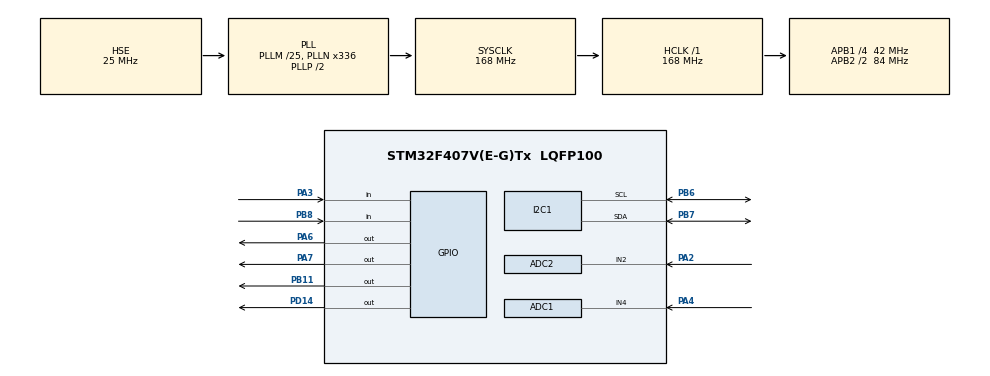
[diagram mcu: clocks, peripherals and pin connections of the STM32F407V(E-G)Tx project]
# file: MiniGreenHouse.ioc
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ADC1.Channel-4\#ChannelRegularConversion=ADC_CHANNEL_4
ADC1.ClockPrescaler=ADC_CLOCK_SYNC_PCLK_DIV4
ADC1.ContinuousConvMode=DISABLE
ADC1.DMAContinuousRequests=DISABLE
ADC1.DataAlign=ADC_DATAALIGN_RIGHT
ADC1.DiscontinuousConvMode=DISABLE
ADC1.EOCSelection=ADC_EOC_SINGLE_CONV
ADC1.EnableAnalogWatchDog=false
ADC1.ExternalTrigConv=ADC_SOFTWARE_START
ADC1.ExternalTrigConvEdge=ADC_EXTERNALTRIGCONVEDGE_NONE
ADC1.InjNumberOfConversion=0
ADC1.NbrOfConversion=1
ADC1.NbrOfConversionFlag=1
ADC1.Rank-4\#ChannelRegularConversion=1
ADC1.Resolution=ADC_RESOLUTION_12B
ADC1.SamplingTime-4\#ChannelRegularConversion=ADC_SAMPLETIME_3CYCLES
ADC1.ScanConvMode=DISABLE
ADC1.master=1
ADC2.Channel-0\#ChannelRegularConversion=ADC_CHANNEL_2
ADC2.ClockPrescaler=ADC_CLOCK_SYNC_PCLK_DIV4
ADC2.ContinuousConvMode=DISABLE
ADC2.DMAContinuousRequests=DISABLE
ADC2.DataAlign=ADC_DATAALIGN_RIGHT
ADC2.DiscontinuousConvMode=DISABLE
ADC2.EOCSelection=ADC_EOC_SINGLE_CONV
ADC2.EnableAnalogWatchDog=false
ADC2.ExternalTrigConv=ADC_SOFTWARE_START
ADC2.ExternalTrigConvEdge=ADC_EXTERNALTRIGCONVEDGE_NONE
ADC2.InjNumberOfConversion=0
ADC2.NbrOfConversion=1
ADC2.NbrOfConversionFlag=1
ADC2.Rank-0\#ChannelRegularConversion=1
ADC2.Resolution=ADC_RESOLUTION_12B
ADC2.SamplingTime-0\#ChannelRegularConversion=ADC_SAMPLETIME_3CYCLES
ADC2.ScanConvMode=DISABLE
I2C1.I2C_Mode=I2C_Fast
Mcu.Family=STM32F4
Mcu.Name=STM32F407V(E-G)Tx
Mcu.Package=LQFP100
NVIC.PriorityGroup=NVIC_PRIORITYGROUP_4
NVIC.TIM3_IRQn=true\:0\:0\:false\:false\:true\:true
NVIC.TIM4_IRQn=true\:0\:0\:false\:false\:true\:true
PA2.Signal=ADCx_IN2
PA3.GPIO_PuPd=GPIO_NOPULL
PA3.Signal=GPIO_Input
PA4.Signal=ADCx_IN4
PA6.Signal=GPIO_Output
PA7.Signal=GPIO_Output
PB11.Signal=GPIO_Output
PB6.Mode=I2C
PB6.Signal=I2C1_SCL
PB7.Mode=I2C
PB7.Signal=I2C1_SDA
PB8.GPIO_PuPd=GPIO_PULLUP
PB8.Signal=GPIO_Input
PD14.Signal=GPIO_Output
PH0-OSC_IN.Mode=HSE-External-Oscillator
PH0-OSC_IN.Signal=RCC_OSC_IN
PH1-OSC_OUT.Mode=HSE-External-Oscillator
PH1-OSC_OUT.Signal=RCC_OSC_OUT
ProjectManager.HeapSize=0x200
ProjectManager.StackSize=0x400
ProjectManager.TargetToolchain=SW4STM32
RCC.48MHZClocksFreq_Value=84000000
RCC.AHBFreq_Value=168000000
RCC.APB1CLKDivider=RCC_HCLK_DIV4
RCC.APB1Freq_Value=42000000
RCC.APB1TimFreq_Value=84000000
RCC.APB2CLKDivider=RCC_HCLK_DIV2
RCC.APB2Freq_Value=84000000
RCC.APB2TimFreq_Value=168000000
RCC.CortexFreq_Value=168000000
RCC.HCLKFreq_Value=168000000
RCC.HSE_VALUE=25000000
RCC.HSI_VALUE=16000000
RCC.LSE_VALUE=32768
RCC.PLLM=25
RCC.PLLN=336
RCC.PLLSourceVirtual=RCC_PLLSOURCE_HSE
RCC.SYSCLKFreq_VALUE=168000000
RCC.SYSCLKSource=RCC_SYSCLKSOURCE_PLLCLK
RCC.VCOOutputFreq_Value=336000000
SH.ADCx_IN2.0=ADC2_IN2,IN2
SH.ADCx_IN4.0=ADC1_IN4,IN4
TIM3.Period=9999
TIM3.Prescaler=8399
TIM4.Period=9999
TIM4.Prescaler=999
VP_TIM3_VS_ClockSourceINT.Mode=Internal
VP_TIM4_VS_ClockSourceINT.Mode=Internal
board=MiniGreenHouse

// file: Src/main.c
/**
  ******************************************************************************
  * @file           : main.c
  * @brief          : Main program body
  ******************************************************************************
  ** This notice applies to any and all portions of this file
  * that are not between comment pairs USER CODE BEGIN and
  * USER CODE END. Other portions of this file, whether
  * inserted by the user or by software development tools
  * are owned by their respective copyright owners.
  *
  * COPYRIGHT(c) 2018 STMicroelectronics
  *
  * Redistribution and use in source and binary forms, with or without modification,
  * are permitted provided that the following conditions are met:
  *   1. Redistributions of source code must retain the above copyright notice,
  *      this list of conditions and the following disclaimer.
  *   2. Redistributions in binary form must reproduce the above copyright notice,
  *      this list of conditions and the following disclaimer in the documentation
  *      and/or other materials provided with the distribution.
  *   3. Neither the name of STMicroelectronics nor the names of its contributors
  *      may be used to endorse or promote products derived from this software
  *      without specific prior written permission.
  *
  * THIS SOFTWARE IS PROVIDED BY THE COPYRIGHT HOLDERS AND CONTRIBUTORS "AS IS"
  * AND ANY EXPRESS OR IMPLIED WARRANTIES, INCLUDING, BUT NOT LIMITED TO, THE
  * IMPLIED WARRANTIES OF MERCHANTABILITY AND FITNESS FOR A PARTICULAR PURPOSE ARE
  * DISCLAIMED. IN NO EVENT SHALL THE COPYRIGHT HOLDER OR CONTRIBUTORS BE LIABLE
  * FOR ANY DIRECT, INDIRECT, INCIDENTAL, SPECIAL, EXEMPLARY, OR CONSEQUENTIAL
  * DAMAGES (INCLUDING, BUT NOT LIMITED TO, PROCUREMENT OF SUBSTITUTE GOODS OR
  * SERVICES; LOSS OF USE, DATA, OR PROFITS; OR BUSINESS INTERRUPTION) HOWEVER
  * CAUSED AND ON ANY THEORY OF LIABILITY, WHETHER IN CONTRACT, STRICT LIABILITY,
  * OR TORT (INCLUDING NEGLIGENCE OR OTHERWISE) ARISING IN ANY WAY OUT OF THE USE
  * OF THIS SOFTWARE, EVEN IF ADVISED OF THE POSSIBILITY OF SUCH DAMAGE.
  *
  ******************************************************************************
  */
#include "main.h"
#include "stm32f4xx_hal.h"

/* USER CODE BEGIN Includes */
#include "ssd1306.h"
#include "fonts.h"
#include <stdbool.h>
#include <float.h>
#include "ds18b20.h"
/* USER CODE END Includes */

ADC_HandleTypeDef hadc1;
ADC_HandleTypeDef hadc2;
I2C_HandleTypeDef hi2c1;
TIM_HandleTypeDef htim3;
TIM_HandleTypeDef htim4;

/* USER CODE BEGIN PV */
/* Private variables ---------------------------------------------------------*/

/* USER CODE END PV */

void SystemClock_Config(void);
static void MX_GPIO_Init(void);
static void MX_I2C1_Init(void);
static void MX_ADC1_Init(void);
static void MX_ADC2_Init(void);
static void MX_TIM3_Init(void);
static void MX_TIM4_Init(void);

/* USER CODE BEGIN PFP */
/* Private function prototypes -----------------------------------------------*/
void initScreen(void);
void updateScreen(void);
void HAL_TIM_PeriodElapsedCallback(TIM_HandleTypeDef *htim);
void measurements(void);
/* USER CODE END PFP */

/* USER CODE BEGIN 0 */
float tempValue;
char uartBuffer[60];
uint8_t status = 0;
uint8_t buffer[8] = {0};
uint16_t readDataRaw = 0;
int lightVal = 0, humSt=0, humVal=0, waterSt=0, in = 0, screenCnt = 1;
int ledBlock = 0, pumpBlock = 0;
char c = ' ';
/* USER CODE END 0 */

int main(void)
{

  /* MCU Configuration----------------------------------------------------------*/

  /* Reset of all peripherals, Initializes the Flash interface and the Systick. */
  HAL_Init();

  /* Configure the system clock */
  SystemClock_Config();

  /* Initialize all configured peripherals */
  MX_GPIO_Init();
  MX_I2C1_Init();
  MX_ADC1_Init();
  MX_ADC2_Init();
  MX_TIM3_Init();
  MX_TIM4_Init();
  /* USER CODE BEGIN 2 */
  status = ds18b20Init(SKIP_ROM);
  initScreen();
  HAL_ADC_Start(&hadc1);
  HAL_ADC_Start(&hadc2);
  measurements();
  HAL_TIM_Base_Start_IT(&htim3);
  HAL_TIM_Base_Start_IT(&htim4);
  /* USER CODE END 2 */

  /* Infinite loop */
  while (1){

  }

}

void SystemClock_Config(void)
{

  RCC_OscInitTypeDef RCC_OscInitStruct;
  RCC_ClkInitTypeDef RCC_ClkInitStruct;

    /**Configure the main internal regulator output voltage
    */
  __HAL_RCC_PWR_CLK_ENABLE();

  __HAL_PWR_VOLTAGESCALING_CONFIG(PWR_REGULATOR_VOLTAGE_SCALE1);

    /**Initializes the CPU, AHB and APB busses clocks
    */
  RCC_OscInitStruct.OscillatorType = RCC_OSCILLATORTYPE_HSE;
  RCC_OscInitStruct.HSEState = RCC_HSE_ON;
  RCC_OscInitStruct.PLL.PLLState = RCC_PLL_ON;
  RCC_OscInitStruct.PLL.PLLSource = RCC_PLLSOURCE_HSE;
  RCC_OscInitStruct.PLL.PLLM = 25;
  RCC_OscInitStruct.PLL.PLLN = 336;
  RCC_OscInitStruct.PLL.PLLP = RCC_PLLP_DIV2;
  RCC_OscInitStruct.PLL.PLLQ = 4;
  if (HAL_RCC_OscConfig(&RCC_OscInitStruct) != HAL_OK)
  {
    _Error_Handler(__FILE__, __LINE__);
  }

    /**Initializes the CPU, AHB and APB busses clocks
    */
  RCC_ClkInitStruct.ClockType = RCC_CLOCKTYPE_HCLK|RCC_CLOCKTYPE_SYSCLK
                              |RCC_CLOCKTYPE_PCLK1|RCC_CLOCKTYPE_PCLK2;
  RCC_ClkInitStruct.SYSCLKSource = RCC_SYSCLKSOURCE_PLLCLK;
  RCC_ClkInitStruct.AHBCLKDivider = RCC_SYSCLK_DIV1;
  RCC_ClkInitStruct.APB1CLKDivider = RCC_HCLK_DIV4;
  RCC_ClkInitStruct.APB2CLKDivider = RCC_HCLK_DIV2;

  if (HAL_RCC_ClockConfig(&RCC_ClkInitStruct, FLASH_LATENCY_5) != HAL_OK)
  {
    _Error_Handler(__FILE__, __LINE__);
  }

    /**Configure the Systick interrupt time
    */
  HAL_SYSTICK_Config(HAL_RCC_GetHCLKFreq()/1000);

    /**Configure the Systick
    */
  HAL_SYSTICK_CLKSourceConfig(SYSTICK_CLKSOURCE_HCLK);

  /* SysTick_IRQn interrupt configuration */
  HAL_NVIC_SetPriority(SysTick_IRQn, 0, 0);
}

/* ADC1 init function */
static void MX_ADC1_Init(void)
{

  ADC_ChannelConfTypeDef sConfig;

    /**Configure the global features of the ADC (Clock, Resolution, Data Alignment and number of conversion)
    */
  hadc1.Instance = ADC1;
  hadc1.Init.ClockPrescaler = ADC_CLOCK_SYNC_PCLK_DIV4;
  hadc1.Init.Resolution = ADC_RESOLUTION_12B;
  hadc1.Init.ScanConvMode = DISABLE;
  hadc1.Init.ContinuousConvMode = DISABLE;
  hadc1.Init.DiscontinuousConvMode = DISABLE;
  hadc1.Init.ExternalTrigConvEdge = ADC_EXTERNALTRIGCONVEDGE_NONE;
  hadc1.Init.ExternalTrigConv = ADC_SOFTWARE_START;
  hadc1.Init.DataAlign = ADC_DATAALIGN_RIGHT;
  hadc1.Init.NbrOfConversion = 1;
  hadc1.Init.DMAContinuousRequests = DISABLE;
  hadc1.Init.EOCSelection = ADC_EOC_SINGLE_CONV;
  if (HAL_ADC_Init(&hadc1) != HAL_OK)
  {
    _Error_Handler(__FILE__, __LINE__);
  }

    /**Configure for the selected ADC regular channel its corresponding rank in the sequencer and its sample time.
    */
  sConfig.Channel = ADC_CHANNEL_4;
  sConfig.Rank = 1;
  sConfig.SamplingTime = ADC_SAMPLETIME_3CYCLES;
  if (HAL_ADC_ConfigChannel(&hadc1, &sConfig) != HAL_OK)
  {
    _Error_Handler(__FILE__, __LINE__);
  }

}

/* ADC2 init function */
static void MX_ADC2_Init(void)
{

  ADC_ChannelConfTypeDef sConfig;

    /**Configure the global features of the ADC (Clock, Resolution, Data Alignment and number of conversion)
    */
  hadc2.Instance = ADC2;
  hadc2.Init.ClockPrescaler = ADC_CLOCK_SYNC_PCLK_DIV4;
  hadc2.Init.Resolution = ADC_RESOLUTION_12B;
  hadc2.Init.ScanConvMode = DISABLE;
  hadc2.Init.ContinuousConvMode = DISABLE;
  hadc2.Init.DiscontinuousConvMode = DISABLE;
  hadc2.Init.ExternalTrigConvEdge = ADC_EXTERNALTRIGCONVEDGE_NONE;
  hadc2.Init.ExternalTrigConv = ADC_SOFTWARE_START;
  hadc2.Init.DataAlign = ADC_DATAALIGN_RIGHT;
  hadc2.Init.NbrOfConversion = 1;
  hadc2.Init.DMAContinuousRequests = DISABLE;
  hadc2.Init.EOCSelection = ADC_EOC_SINGLE_CONV;
  if (HAL_ADC_Init(&hadc2) != HAL_OK)
  {
    _Error_Handler(__FILE__, __LINE__);
  }

    /**Configure for the selected ADC regular channel its corresponding rank in the sequencer and its sample time.
    */
  sConfig.Channel = ADC_CHANNEL_2;
  sConfig.Rank = 1;
  sConfig.SamplingTime = ADC_SAMPLETIME_3CYCLES;
  if (HAL_ADC_ConfigChannel(&hadc2, &sConfig) != HAL_OK)
  {
    _Error_Handler(__FILE__, __LINE__);
  }

}

/* I2C1 init function */
static void MX_I2C1_Init(void)
{

  hi2c1.Instance = I2C1;
  hi2c1.Init.ClockSpeed = 400000;
  hi2c1.Init.DutyCycle = I2C_DUTYCYCLE_2;
  hi2c1.Init.OwnAddress1 = 0;
  hi2c1.Init.AddressingMode = I2C_ADDRESSINGMODE_7BIT;
  hi2c1.Init.DualAddressMode = I2C_DUALADDRESS_DISABLE;
  hi2c1.Init.OwnAddress2 = 0;
  hi2c1.Init.GeneralCallMode = I2C_GENERALCALL_DISABLE;
  hi2c1.Init.NoStretchMode = I2C_NOSTRETCH_DISABLE;
  if (HAL_I2C_Init(&hi2c1) != HAL_OK)
  {
    _Error_Handler(__FILE__, __LINE__);
  }

}

/* TIM3 init function */
static void MX_TIM3_Init(void)
{

  TIM_ClockConfigTypeDef sClockSourceConfig;
  TIM_MasterConfigTypeDef sMasterConfig;

  htim3.Instance = TIM3;
  htim3.Init.Prescaler = 8399;
  htim3.Init.CounterMode = TIM_COUNTERMODE_UP;
  htim3.Init.Period = 9999;
  htim3.Init.ClockDivision = TIM_CLOCKDIVISION_DIV1;
  if (HAL_TIM_Base_Init(&htim3) != HAL_OK)
  {
    _Error_Handler(__FILE__, __LINE__);
  }

  sClockSourceConfig.ClockSource = TIM_CLOCKSOURCE_INTERNAL;
  if (HAL_TIM_ConfigClockSource(&htim3, &sClockSourceConfig) != HAL_OK)
  {
    _Error_Handler(__FILE__, __LINE__);
  }

  sMasterConfig.MasterOutputTrigger = TIM_TRGO_RESET;
  sMasterConfig.MasterSlaveMode = TIM_MASTERSLAVEMODE_DISABLE;
  if (HAL_TIMEx_MasterConfigSynchronization(&htim3, &sMasterConfig) != HAL_OK)
  {
    _Error_Handler(__FILE__, __LINE__);
  }

}

/* TIM4 init function */
static void MX_TIM4_Init(void)
{

  TIM_ClockConfigTypeDef sClockSourceConfig;
  TIM_MasterConfigTypeDef sMasterConfig;

  htim4.Instance = TIM4;
  htim4.Init.Prescaler = 999;
  htim4.Init.CounterMode = TIM_COUNTERMODE_UP;
  htim4.Init.Period = 9999;
  htim4.Init.ClockDivision = TIM_CLOCKDIVISION_DIV1;
  if (HAL_TIM_Base_Init(&htim4) != HAL_OK)
  {
    _Error_Handler(__FILE__, __LINE__);
  }

  sClockSourceConfig.ClockSource = TIM_CLOCKSOURCE_INTERNAL;
  if (HAL_TIM_ConfigClockSource(&htim4, &sClockSourceConfig) != HAL_OK)
  {
    _Error_Handler(__FILE__, __LINE__);
  }

  sMasterConfig.MasterOutputTrigger = TIM_TRGO_RESET;
  sMasterConfig.MasterSlaveMode = TIM_MASTERSLAVEMODE_DISABLE;
  if (HAL_TIMEx_MasterConfigSynchronization(&htim4, &sMasterConfig) != HAL_OK)
  {
    _Error_Handler(__FILE__, __LINE__);
  }

}

/** Configure pins as
        * Analog
        * Input
        * Output
        * EVENT_OUT
        * EXTI
*/
static void MX_GPIO_Init(void)
{

  GPIO_InitTypeDef GPIO_InitStruct;

  /* GPIO Ports Clock Enable */
  __HAL_RCC_GPIOH_CLK_ENABLE();
  __HAL_RCC_GPIOA_CLK_ENABLE();
  __HAL_RCC_GPIOB_CLK_ENABLE();
  __HAL_RCC_GPIOD_CLK_ENABLE();

  /*Configure GPIO pin Output Level */
  HAL_GPIO_WritePin(GPIOA, GPIO_PIN_6|GPIO_PIN_7, GPIO_PIN_RESET);

  /*Configure GPIO pin Output Level */
  HAL_GPIO_WritePin(GPIOB, GPIO_PIN_11, GPIO_PIN_RESET);

  /*Configure GPIO pin Output Level */
  HAL_GPIO_WritePin(GPIOD, GPIO_PIN_14, GPIO_PIN_RESET);

  /*Configure GPIO pin : PA3 */
  GPIO_InitStruct.Pin = GPIO_PIN_3;
  GPIO_InitStruct.Mode = GPIO_MODE_INPUT;
  GPIO_InitStruct.Pull = GPIO_NOPULL;
  HAL_GPIO_Init(GPIOA, &GPIO_InitStruct);

  /*Configure GPIO pins : PA6 PA7 */
  GPIO_InitStruct.Pin = GPIO_PIN_6|GPIO_PIN_7;
  GPIO_InitStruct.Mode = GPIO_MODE_OUTPUT_PP;
  GPIO_InitStruct.Pull = GPIO_NOPULL;
  GPIO_InitStruct.Speed = GPIO_SPEED_FREQ_LOW;
  HAL_GPIO_Init(GPIOA, &GPIO_InitStruct);

  /*Configure GPIO pin : PB11 */
  GPIO_InitStruct.Pin = GPIO_PIN_11;
  GPIO_InitStruct.Mode = GPIO_MODE_OUTPUT_PP;
  GPIO_InitStruct.Pull = GPIO_NOPULL;
  GPIO_InitStruct.Speed = GPIO_SPEED_FREQ_LOW;
  HAL_GPIO_Init(GPIOB, &GPIO_InitStruct);

  /*Configure GPIO pin : PD14 */
  GPIO_InitStruct.Pin = GPIO_PIN_14;
  GPIO_InitStruct.Mode = GPIO_MODE_OUTPUT_PP;
  GPIO_InitStruct.Pull = GPIO_NOPULL;
  GPIO_InitStruct.Speed = GPIO_SPEED_FREQ_LOW;
  HAL_GPIO_Init(GPIOD, &GPIO_InitStruct);

  /*Configure GPIO pin : PB8 */
  GPIO_InitStruct.Pin = GPIO_PIN_8;
  GPIO_InitStruct.Mode = GPIO_MODE_INPUT;
  GPIO_InitStruct.Pull = GPIO_PULLUP;
  HAL_GPIO_Init(GPIOB, &GPIO_InitStruct);

}

/* USER CODE BEGIN 4 */

void measurements(){
	if (HAL_GPIO_ReadPin(GPIOB, GPIO_PIN_8)) {
		waterSt = 0;
	} else {
		waterSt = 1;
	}
	if(waterSt == 0){
		ds18b20DevConTemp(SKIP_ROM, 0);
			ds18b20ReadScratchpad(SKIP_ROM, buffer, 0);
			readDataRaw = ((uint16_t) buffer[1] << 8) | buffer[0];

			if (ds18b20ReadSign(readDataRaw)) {
				c = '-';
			} else {
				c = '+';
			}
			tempValue = ds18b20GetTemp(readDataRaw);

			if (HAL_ADC_PollForConversion(&hadc1, 10) == HAL_OK) {
				lightVal = HAL_ADC_GetValue(&hadc1);
				HAL_ADC_Start(&hadc1);
				lightVal = 100 * lightVal / 4095;
			}

			if(lightVal < 15 && ledBlock == 0){
				ledBlock += 1;
				HAL_GPIO_WritePin(GPIOA, GPIO_PIN_7, GPIO_PIN_RESET);
			}
			else if(ledBlock == 0){
				HAL_GPIO_WritePin(GPIOA, GPIO_PIN_7, GPIO_PIN_SET);
			}
			else{
				ledBlock += 1;
				if(ledBlock > 50){
					ledBlock = 0;
				}
			}

			if (HAL_ADC_PollForConversion(&hadc2, 10) == HAL_OK) {
				humVal = HAL_ADC_GetValue(&hadc2);
				HAL_ADC_Start(&hadc2);
			}

			if (HAL_GPIO_ReadPin(GPIOA, GPIO_PIN_3)) {
				humSt = 1;
			} else {
				humSt = 0;
			}

		if (humVal > 3000) {
			HAL_GPIO_WritePin(GPIOA, GPIO_PIN_6, GPIO_PIN_RESET);

		} else {
			HAL_GPIO_WritePin(GPIOA, GPIO_PIN_6, GPIO_PIN_SET);
		}
	}
	else{
		//everything off:
		HAL_GPIO_WritePin(GPIOA, GPIO_PIN_6, GPIO_PIN_SET);
		HAL_GPIO_WritePin(GPIOA, GPIO_PIN_7, GPIO_PIN_SET);

	}

}

void HAL_TIM_PeriodElapsedCallback(TIM_HandleTypeDef *htim) {
	in += 1;
	if (htim->Instance == TIM3) {
		SSD1306_Fill(0);
		SSD1306_UpdateScreen();
		if (waterSt == 0) {
			char tempBuff[50];
			char tempBuff2[50];
			if (screenCnt == 1) {
				sprintf(tempBuff, "Temp: %.2f", tempValue);
				sprintf(tempBuff2, "Water: %d", waterSt);

				SSD1306_GotoXY(0, 0);
				SSD1306_Puts(tempBuff2, &Font_11x18, 1);
				SSD1306_GotoXY(0, 30);
				SSD1306_Puts(tempBuff, &Font_11x18, 1);
				SSD1306_UpdateScreen();
				screenCnt = 2;
			} else {
				sprintf(tempBuff, "LUM: %d%%", lightVal);
				sprintf(tempBuff2, "HUM: %d(%d)", humVal, humSt);

				SSD1306_GotoXY(0, 0);
				SSD1306_Puts(tempBuff, &Font_11x18, 1);
				SSD1306_GotoXY(0, 30);
				SSD1306_Puts(tempBuff2, &Font_11x18, 1);
				SSD1306_UpdateScreen();
				screenCnt = 1;
			}
		}
		else{
			SSD1306_GotoXY(0, 0);
			SSD1306_Puts("REFILLL", &Font_16x26, 1);
			SSD1306_GotoXY(0, 30);
			SSD1306_Puts("WATER", &Font_16x26, 1);
			SSD1306_UpdateScreen();
		}
	}
	if (htim->Instance == TIM4) {
		measurements();
	}

}

void initScreen(void){
	SSD1306_Init();
	SSD1306_Fill(0);
	SSD1306_UpdateScreen();
}
void updateScreen(void){
	char tempBuff[50];
	char tempBuff2[50];
	sprintf(tempBuff, "Temp: %.2f", tempValue);
	sprintf(tempBuff2, "Water: %d", waterSt);
	SSD1306_GotoXY(0, 0);
	SSD1306_Puts(tempBuff2, &Font_11x18, 1);
	SSD1306_GotoXY(0, 30);
	SSD1306_Puts(tempBuff, &Font_11x18, 1);
	SSD1306_UpdateScreen();
	HAL_Delay(1000);
	SSD1306_Fill(0);
	SSD1306_UpdateScreen();

	sprintf(tempBuff, "LUM: %d%%", lightVal);
	sprintf(tempBuff2, "HUM: %d(%d)", humVal, humSt);

	SSD1306_GotoXY(0, 0);
	SSD1306_Puts(tempBuff, &Font_11x18, 1);
	SSD1306_GotoXY(0, 30);
	SSD1306_Puts(tempBuff2, &Font_11x18, 1);
	SSD1306_UpdateScreen();
	HAL_Delay(1000);
	SSD1306_Fill(0);
}

/* USER CODE END 4 */

void _Error_Handler(char *file, int line)
{
  while(1)
  {
  }
}

/************************ (C) COPYRIGHT STMicroelectronics *****END OF FILE****/
